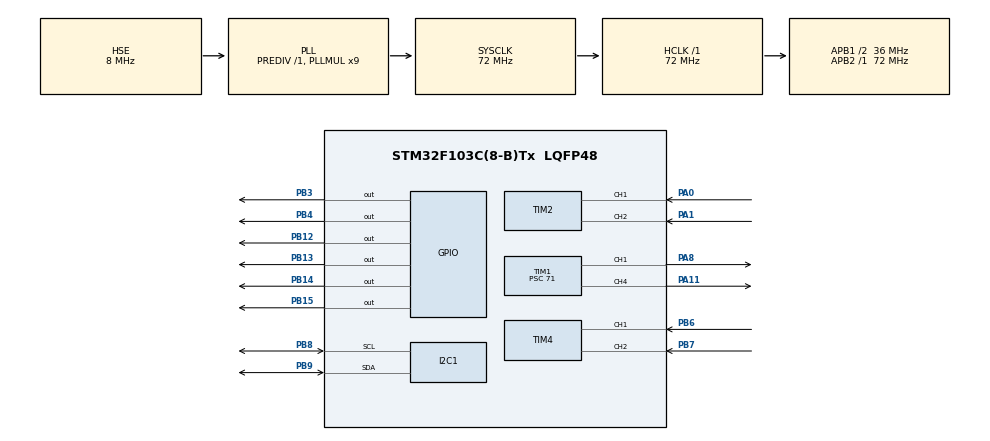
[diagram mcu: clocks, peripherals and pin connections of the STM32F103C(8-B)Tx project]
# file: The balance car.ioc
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Mcu.Family=STM32F1
Mcu.Name=STM32F103C(8-B)Tx
Mcu.Package=LQFP48
NVIC.PriorityGroup=NVIC_PRIORITYGROUP_4
PA0-WKUP.Signal=S_TIM2_CH1_ETR
PA1.Signal=S_TIM2_CH2
PA11.Signal=S_TIM1_CH4
PA13.Mode=Serial_Wire
PA13.Signal=SYS_JTMS-SWDIO
PA14.Mode=Serial_Wire
PA14.Signal=SYS_JTCK-SWCLK
PA8.Signal=S_TIM1_CH1
PB12.Signal=GPIO_Output
PB13.Signal=GPIO_Output
PB14.Signal=GPIO_Output
PB15.Signal=GPIO_Output
PB3.Signal=GPIO_Output
PB4.Signal=GPIO_Output
PB6.Signal=S_TIM4_CH1
PB7.Signal=S_TIM4_CH2
PB8.Mode=I2C
PB8.Signal=I2C1_SCL
PB9.Mode=I2C
PB9.Signal=I2C1_SDA
PD0-OSC_IN.Mode=HSE-External-Oscillator
PD0-OSC_IN.Signal=RCC_OSC_IN
PD1-OSC_OUT.Mode=HSE-External-Oscillator
PD1-OSC_OUT.Signal=RCC_OSC_OUT
ProjectManager.HeapSize=0x200
ProjectManager.StackSize=0x400
ProjectManager.TargetToolchain=MDK-ARM V5.32
RCC.AHBFreq_Value=72000000
RCC.APB1CLKDivider=RCC_HCLK_DIV2
RCC.APB1Freq_Value=36000000
RCC.APB1TimFreq_Value=72000000
RCC.APB2Freq_Value=72000000
RCC.APB2TimFreq_Value=72000000
RCC.HCLKFreq_Value=72000000
RCC.PLLMUL=RCC_PLL_MUL9
RCC.PLLSourceVirtual=RCC_PLLSOURCE_HSE
RCC.SYSCLKFreq_VALUE=72000000
RCC.SYSCLKSource=RCC_SYSCLKSOURCE_PLLCLK
RCC.USBFreq_Value=72000000
SH.S_TIM1_CH1.0=TIM1_CH1,PWM Generation1 CH1
SH.S_TIM1_CH4.0=TIM1_CH4,PWM Generation4 CH4
SH.S_TIM2_CH1_ETR.0=TIM2_CH1,Encoder_Interface
SH.S_TIM2_CH2.0=TIM2_CH2,Encoder_Interface
SH.S_TIM4_CH1.0=TIM4_CH1,Encoder_Interface
SH.S_TIM4_CH2.0=TIM4_CH2,Encoder_Interface
TIM1.Channel-PWM\ Generation1\ CH1=TIM_CHANNEL_1
TIM1.Channel-PWM\ Generation4\ CH4=TIM_CHANNEL_4
TIM1.Period=99
TIM1.Prescaler=71
TIM2.EncoderMode=TIM_ENCODERMODE_TI12
TIM4.EncoderMode=TIM_ENCODERMODE_TI12
board=custom

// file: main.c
/* USER CODE BEGIN Header */
/**
  ******************************************************************************
  * @file           : main.c
  * @brief          : Main program body
  ******************************************************************************
  * @attention
  *
  * Copyright (c) 2025 STMicroelectronics.
  * All rights reserved.
  *
  * This software is licensed under terms that can be found in the LICENSE file
  * in the root directory of this software component.
  * If no LICENSE file comes with this software, it is provided AS-IS.
  *
  ******************************************************************************
  */
/* USER CODE END Header */
#include "main.h"
#include "i2c.h"
#include "tim.h"
#include "gpio.h"

/* USER CODE BEGIN Includes */
#include "oled.h"
#include "mpu6050.h"
#include "inv_mpu.h"
#include "inv_mpu_dmp_motion_driver.h"
#include "IIC.h"
#include "stdio.h"
#include "motor.h"
#include "encoder.h"
#include "pid.h"
/* USER CODE END Includes */

/* USER CODE BEGIN PV */
uint32_t mytick;
int Encoder_Left,Encoder_Right;
/* USER CODE END PV */

void SystemClock_Config(void);
/* USER CODE BEGIN PFP */
void read(void);
/* USER CODE END PFP */

int main(void)
{

  /* USER CODE BEGIN 1 */
  float pitch,yaw,roll;
	uint8_t display_buf[50];
	uint32_t mytick;
  /* USER CODE END 1 */

  /* MCU Configuration--------------------------------------------------------*/

  /* Reset of all peripherals, Initializes the Flash interface and the Systick. */
  HAL_Init();

  /* Configure the system clock */
  SystemClock_Config();

  /* Initialize all configured peripherals */
  MX_GPIO_Init();
  MX_I2C1_Init();
  MX_TIM2_Init();
  MX_TIM4_Init();
  MX_TIM1_Init();
  /* USER CODE BEGIN 2 */
 OLED_Init();
 OLED_Clear();
 OLED_ShowString(0,0,"I'm back !",16);
 MPU_Init();
 mpu_dmp_init();
 HAL_TIM_Encoder_Start(&htim2,TIM_CHANNEL_ALL);
 HAL_TIM_Encoder_Start(&htim4,TIM_CHANNEL_ALL);
 OLED_ShowString(0,4,"Init Success",12);
 HAL_TIM_PWM_Start(&htim1,TIM_CHANNEL_1);
 HAL_TIM_PWM_Start(&htim1,TIM_CHANNEL_4);
 HAL_TIM_Encoder_Start(&htim2,TIM_CHANNEL_ALL);
 HAL_TIM_Encoder_Start(&htim4,TIM_CHANNEL_ALL);
 HAL_Delay(500);
 OLED_Clear();
 load(0,0);
  /* USER CODE END 2 */

  /* Infinite loop */
  /* USER CODE BEGIN WHILE */
  while (1)
  {

	  read();
	  sprintf((char *)display_buf,"Encoder_L:%d   ",Encoder_Left);
		OLED_ShowString(0,0,display_buf,16);
		sprintf((char *)display_buf,"Encoder_R:%d   ",Encoder_Right);
		OLED_ShowString(0,2,display_buf,16);

		mpu_dmp_get_data(&pitch,&roll,&yaw);
//		  sprintf((char *)display_buffer,"pitch:  %.1f",pitch);
//	  OLED_ShowString(0,0,display_buffer,16);
//			sprintf((char *)display_buffer,"roll:  %.1f",roll);
//	  OLED_ShowString(0,2,display_buffer,16);
//			sprintf((char *)display_buffer,"yaw:  %.1f",yaw);
//	  OLED_ShowString(0,4,display_buffer,16);

    /* USER CODE END WHILE */

  }
}

void SystemClock_Config(void)
{
  RCC_OscInitTypeDef RCC_OscInitStruct = {0};
  RCC_ClkInitTypeDef RCC_ClkInitStruct = {0};

  /** Initializes the RCC Oscillators according to the specified parameters
  * in the RCC_OscInitTypeDef structure.
  */
  RCC_OscInitStruct.OscillatorType = RCC_OSCILLATORTYPE_HSE;
  RCC_OscInitStruct.HSEState = RCC_HSE_ON;
  RCC_OscInitStruct.HSEPredivValue = RCC_HSE_PREDIV_DIV1;
  RCC_OscInitStruct.HSIState = RCC_HSI_ON;
  RCC_OscInitStruct.PLL.PLLState = RCC_PLL_ON;
  RCC_OscInitStruct.PLL.PLLSource = RCC_PLLSOURCE_HSE;
  RCC_OscInitStruct.PLL.PLLMUL = RCC_PLL_MUL9;
  if (HAL_RCC_OscConfig(&RCC_OscInitStruct) != HAL_OK)
  {
    Error_Handler();
  }

  /** Initializes the CPU, AHB and APB buses clocks
  */
  RCC_ClkInitStruct.ClockType = RCC_CLOCKTYPE_HCLK|RCC_CLOCKTYPE_SYSCLK
                              |RCC_CLOCKTYPE_PCLK1|RCC_CLOCKTYPE_PCLK2;
  RCC_ClkInitStruct.SYSCLKSource = RCC_SYSCLKSOURCE_PLLCLK;
  RCC_ClkInitStruct.AHBCLKDivider = RCC_SYSCLK_DIV1;
  RCC_ClkInitStruct.APB1CLKDivider = RCC_HCLK_DIV2;
  RCC_ClkInitStruct.APB2CLKDivider = RCC_HCLK_DIV1;

  if (HAL_RCC_ClockConfig(&RCC_ClkInitStruct, FLASH_LATENCY_2) != HAL_OK)
  {
    Error_Handler();
  }
}

/* USER CODE BEGIN 4 */
void read()
{
  if(uwTick-mytick>=10)
	{
		mytick=uwTick;
		Encoder_Left=readspeed(&htim2);
		Encoder_Right=-readspeed(&htim4);
	}
	else
		return;

}
/* USER CODE END 4 */

void Error_Handler(void)
{
  __disable_irq();
  while (1)
  {
  }
}
